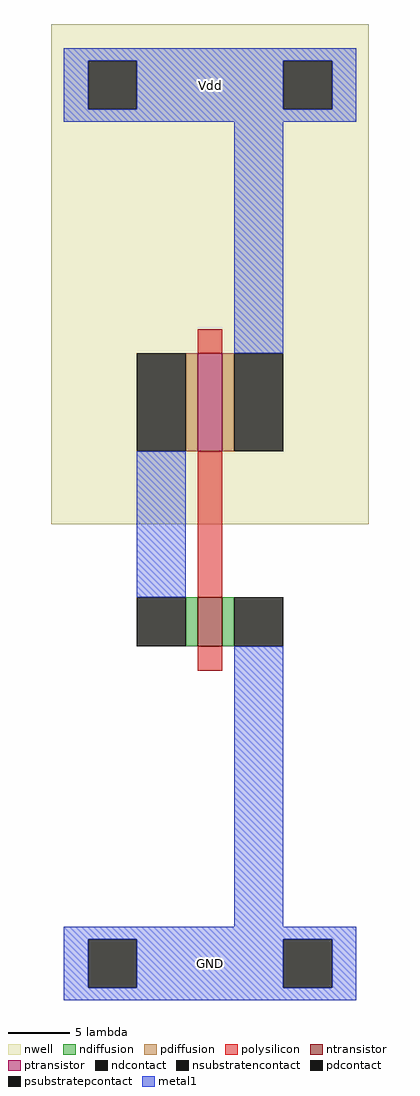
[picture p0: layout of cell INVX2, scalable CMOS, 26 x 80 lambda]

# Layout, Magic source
magic
tech scmos
<< nwell >>
rect -1 -24 25 17
<< ntransistor >>
rect 11 -34 13 -30
<< ptransistor >>
rect 11 -18 13 -10
<< ndiffusion >>
rect 10 -34 11 -30
rect 13 -34 14 -30
<< pdiffusion >>
rect 10 -18 11 -10
rect 13 -18 14 -10
<< ndcontact >>
rect 6 -34 10 -30
rect 14 -34 18 -30
<< pdcontact >>
rect 6 -18 10 -10
rect 14 -18 18 -10
<< psubstratepcontact >>
rect 2 -62 6 -58
rect 18 -62 22 -58
<< nsubstratencontact >>
rect 2 10 6 14
rect 18 10 22 14
<< polysilicon >>
rect 11 -10 13 -8
rect 11 -30 13 -18
rect 11 -36 13 -34
<< metal1 >>
rect 0 14 24 15
rect 0 10 2 14
rect 6 10 18 14
rect 22 10 24 14
rect 0 9 24 10
rect 14 -10 18 9
rect 6 -30 10 -18
rect 14 -57 18 -34
rect 0 -58 24 -57
rect 0 -62 2 -58
rect 6 -62 18 -58
rect 22 -62 24 -58
rect 0 -63 24 -62
<< labels >>
rlabel metal1 12 12 12 12 5 Vdd
rlabel metal1 12 -60 12 -60 1 GND
<< end >>
